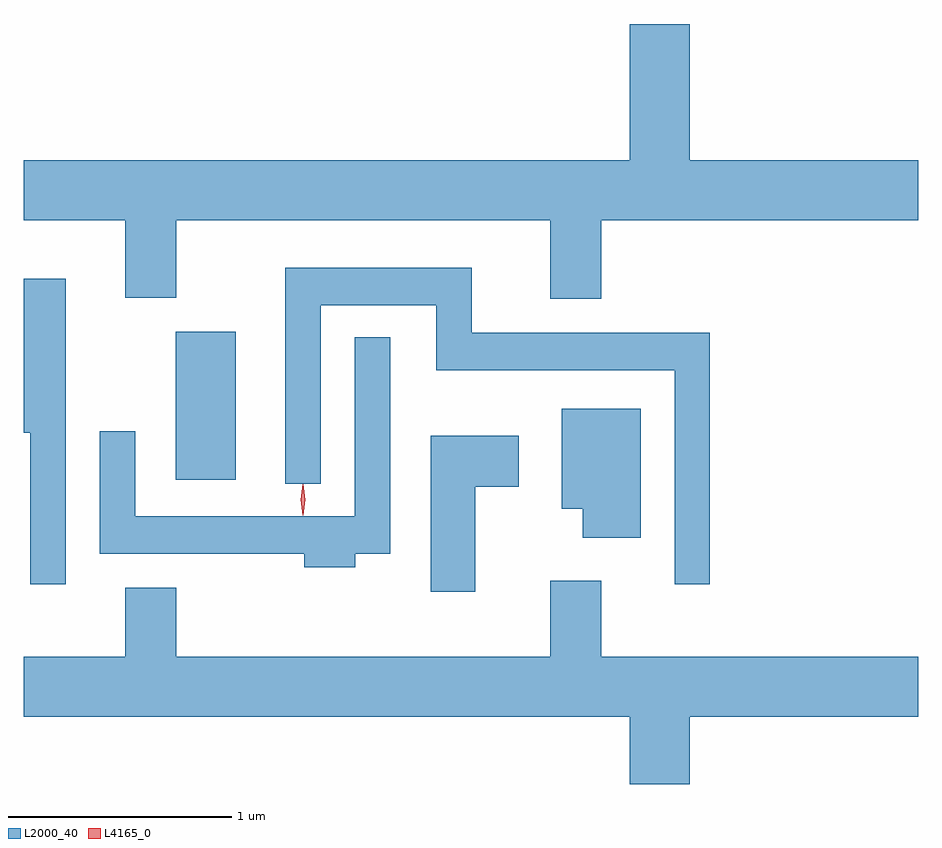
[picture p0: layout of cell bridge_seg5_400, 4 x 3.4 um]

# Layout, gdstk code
import gdstk
lib = gdstk.Library(unit=1e-6, precision=1e-09)
def R(c, l, rs):  # rectangles x0, y0, x1, y1
    for r in rs: c.add(gdstk.rectangle(r[:2], r[2:], *l))
def P(c, l, *ps):  # polygons
    for p in ps: c.add(gdstk.Polygon(p, *l))
L2000_40 = (2000, 40)
L4165_0 = (4165, 0)

bridge_seg5_400 = lib.new_cell('bridge_seg5_400')
R(bridge_seg5_400, L2000_40, [(552.706,1522.236,552.974,1522.899)])
P(bridge_seg5_400, L2000_40, [(554.609,1523.396),(556.026,1523.396),(556.026,1523.664),(555.004,1523.664),(555.004,1524.274),(554.736,1524.274),(554.736,1523.664),(552.026,1523.664),(552.026,1523.396),(552.481,1523.396),(552.481,1523.051),(552.709,1523.051),(552.709,1523.396),(554.381,1523.396),(554.381,1523.046),(554.609,1523.046)],
  [(555.094,1522.894),(554.029,1522.894),(554.029,1523.184),(553.196,1523.184),(553.196,1522.218),(553.354,1522.218),(553.354,1523.016),(553.871,1523.016),(553.871,1522.726),(554.936,1522.726),(554.936,1521.768),(555.094,1521.768)],
  [(552.214,1523.134),(552.026,1523.134),(552.026,1522.446),(552.056,1522.446),(552.056,1521.768),(552.214,1521.768)],
  [(553.509,1521.906),(553.664,1521.906),(553.664,1522.873),(553.506,1522.873),(553.506,1522.074),(552.524,1522.074),(552.524,1522.453),(552.366,1522.453),(552.366,1521.906),(553.281,1521.906),(553.281,1521.846),(553.509,1521.846)],
  [(554.784,1522.554),(554.431,1522.554),(554.431,1522.106),(554.526,1522.106),(554.526,1521.976),(554.784,1521.976)],
  [(554.044,1522.206),(554.239,1522.206),(554.239,1522.434),(553.846,1522.434),(553.846,1521.736),(554.044,1521.736)],
  [(555.004,1521.176),(556.026,1521.176),(556.026,1521.444),(554.609,1521.444),(554.609,1521.784),(554.381,1521.784),(554.381,1521.444),(552.709,1521.444),(552.709,1521.754),(552.481,1521.754),(552.481,1521.444),(552.026,1521.444),(552.026,1521.176),(554.736,1521.176),(554.736,1520.876),(555.004,1520.876)])
P(bridge_seg5_400, L4165_0, [(553.275,1522.079),(553.274,1522.08),(553.265,1522.146),(553.274,1522.212),(553.275,1522.213),(553.275,1522.212),(553.285,1522.146),(553.275,1522.08)],
  [(553.274,1522.077),(553.265,1522.146),(553.274,1522.216),(553.275,1522.216),(553.275,1522.216),(553.285,1522.146),(553.275,1522.077),(553.275,1522.077)])

lib.write_gds('bridge_seg5_400.gds')
